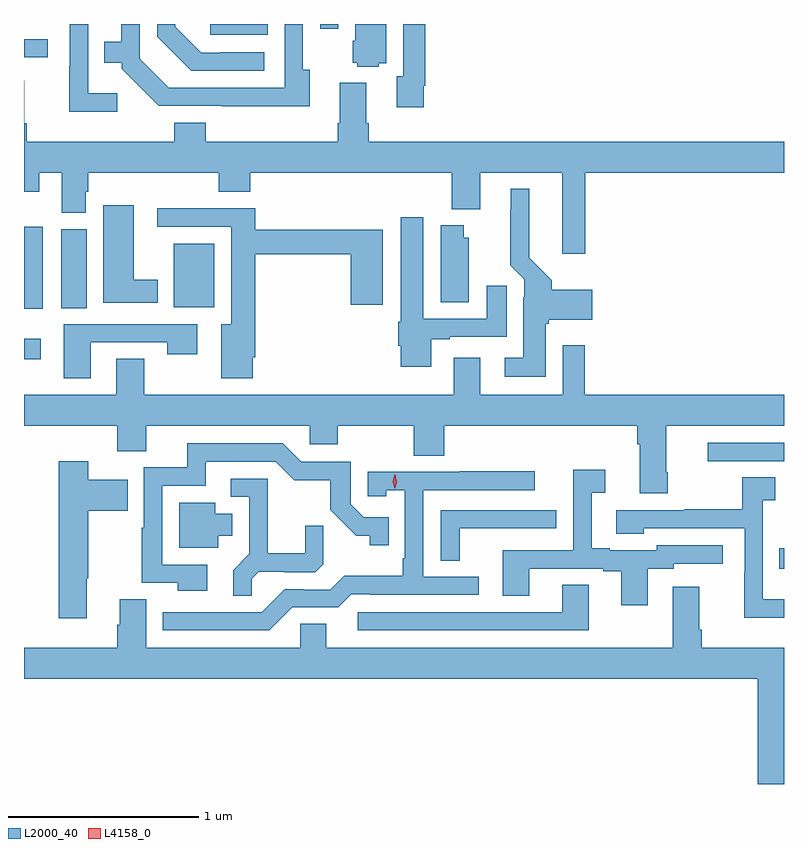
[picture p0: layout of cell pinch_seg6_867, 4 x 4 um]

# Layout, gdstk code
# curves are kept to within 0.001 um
import gdstk
lib = gdstk.Library(unit=1e-6, precision=1e-09)
def R(c, l, rs):  # rectangles x0, y0, x1, y1
    for r in rs: c.add(gdstk.rectangle(r[:2], r[2:], *l))
def P(c, l, *ps):  # polygons
    for p in ps: c.add(gdstk.Polygon(p, *l))
L2000_40 = (2000, 40)
L4158_0 = (4158, 0)

pinch_seg6_867 = lib.new_cell('pinch_seg6_867')
R(pinch_seg6_867, L2000_40, [(182.461,954.575,182.487,954.685), (182.085,955.143,182.487,955.239), (178.487,955.679,178.576,955.786), (178.487,955.944,178.585,956.377), (178.682,955.948,178.816,956.364), (179.276,955.952,179.488,956.287), (178.487,957.267,178.612,957.363), (179.466,957.387,179.77,957.443), (180.045,957.417,180.141,957.443)])
P(pinch_seg6_867, L2000_40, [(178.978,957.079),(178.824,957.079),(178.824,957.443),(178.728,957.443),(178.728,957.221),(178.726,957.221),(178.726,956.981),(178.978,956.981)],
  [(179.752,957.294),(179.521,957.294),(179.521,957.291),(179.421,957.291),(179.284,957.428),(179.284,957.443),(179.187,957.443),(179.187,957.377),(179.366,957.198),(179.752,957.198)],
  [(179.992,957.202),(179.955,957.202),(179.955,957.443),(179.859,957.443),(179.859,957.108),(179.25,957.108),(179.097,957.261),(179.097,957.443),(179,957.443),(179,957.349),(178.909,957.349),(178.909,957.239),(179.001,957.239),(179.001,957.207),(179.196,957.012),(179.992,957.011)],
  [(180.354,957.236),(180.394,957.236),(180.394,957.443),(180.23,957.443),(180.23,957.354),(180.218,957.354),(180.218,957.24),(180.24,957.24),(180.24,957.218),(180.354,957.218)],
  [(180.592,957.118),(180.599,957.118),(180.599,957.443),(180.483,957.443),(180.483,957.167),(180.449,957.167),(180.449,957.006),(180.592,957.006)],
  [(181.442,956.66),(182.487,956.66),(182.487,956.824),(180.302,956.824),(180.302,956.92),(180.289,956.92),(180.289,957.133),(180.149,957.133),(180.149,956.92),(180.137,956.92),(180.137,956.824),(179.444,956.824),(179.444,956.923),(179.279,956.923),(179.279,956.824),(178.502,956.824),(178.502,956.92),(178.489,956.92),(178.489,957.145),(178.487,957.145),(178.487,956.561),(178.567,956.561),(178.567,956.66),(178.685,956.66),(178.685,956.449),(178.813,956.449),(178.813,956.559),(178.826,956.559),(178.826,956.66),(179.513,956.66),(179.513,956.561),(179.678,956.561),(179.678,956.66),(180.737,956.66),(180.737,956.468),(180.889,956.468),(180.889,956.66),(181.319,956.66),(181.319,956.235),(181.442,956.235)],
  [(181.234,955.866),(181.248,955.866),(181.248,955.886),(181.477,955.886),(181.477,956.044),(181.265,956.044),(181.265,956.094),(181.147,956.212),(181.147,956.575),(181.049,956.575),(181.049,956.465),(181.045,956.465),(181.045,956.174),(181.119,956.1),(181.119,956.006),(181.115,956.006),(181.115,955.687),(181.017,955.687),(181.017,955.586),(181.234,955.586)],
  [(179.191,956.098),(179.065,956.098),(179.065,956.488),(178.904,956.488),(178.904,955.976),(179.191,955.976)],
  [(179.692,955.69),(179.705,955.69),(179.705,956.23),(180.206,956.23),(180.206,955.965),(180.376,955.965),(180.376,956.359),(179.705,956.359),(179.705,956.474),(179.187,956.474),(179.187,956.376),(179.579,956.376),(179.579,955.864),(179.525,955.864),(179.525,955.578),(179.692,955.578)],
  [(180.631,955.785),(180.727,955.785),(180.727,955.797),(181.027,955.797),(181.027,956.065),(180.923,956.065),(180.923,955.893),(180.589,955.893),(180.589,956.425),(180.47,956.425),(180.47,955.877),(180.458,955.877),(180.458,955.75),(180.47,955.75),(180.47,955.638),(180.631,955.638)],
  [(180.829,956.319),(180.802,956.319),(180.802,956.383),(180.68,956.383),(180.68,955.978),(180.829,955.978)],
  [(178.837,955.767),(179.242,955.767),(179.242,955.704),(179.398,955.704),(179.398,955.863),(178.697,955.863),(178.697,955.578),(178.837,955.578)],
  [(181.875,955.084),(181.867,955.084),(181.867,955.328),(182.487,955.328),(182.487,955.492),(181.439,955.492),(181.439,955.753),(181.323,955.753),(181.323,955.492),(180.889,955.492),(180.889,955.687),(180.749,955.687),(180.749,955.492),(179.121,955.492),(179.121,955.682),(178.973,955.682),(178.973,955.492),(178.487,955.492),(178.487,955.328),(178.979,955.328),(178.979,955.195),(179.131,955.195),(179.131,955.328),(179.991,955.328),(179.991,955.23),(180.138,955.23),(180.138,955.328),(180.538,955.328),(180.538,955.171),(180.698,955.171),(180.698,955.328),(181.715,955.328),(181.715,955.232),(181.727,955.232),(181.727,954.972),(181.875,954.972)],
  [(179.452,954.597),(179.214,954.597),(179.214,955.014),(179.443,955.014),(179.443,955.14),(179.811,955.14),(179.91,955.042),(180.099,955.042),(180.099,954.886),(180.236,954.749),(180.306,954.749),(180.306,954.699),(180.407,954.699),(180.407,954.846),(180.276,954.846),(180.207,954.915),(180.207,955.14),(179.946,955.14),(179.85,955.236),(179.345,955.236),(179.345,955.11),(179.118,955.11),(179.118,954.791),(179.106,954.791),(179.106,954.501),(179.296,954.501),(179.296,954.461),(179.452,954.461)],
  [(178.816,954.527),(178.824,954.527),(178.824,954.88),(179.033,954.88),(179.033,955.045),(178.824,955.045),(178.824,955.141),(178.67,955.141),(178.67,954.315),(178.816,954.315)],
  [(181.771,954.576),(181.908,954.576),(181.908,954.603),(182.164,954.603),(182.164,954.699),(181.818,954.699),(181.818,954.672),(181.57,954.672),(181.57,954.685),(181.474,954.685),(181.474,954.976),(181.546,954.976),(181.546,955.096),(181.377,955.096),(181.377,954.672),(181.007,954.672),(181.007,954.433),(181.147,954.433),(181.147,954.576),(181.535,954.576),(181.535,954.564),(181.631,954.564),(181.631,954.384),(181.771,954.384)],
  [(179.898,954.372),(180.141,954.372),(180.21,954.441),(180.31,954.441),(180.31,954.438),(180.88,954.438),(180.88,954.534),(180.588,954.534),(180.588,954.99),(181.174,954.99),(181.174,955.089),(180.781,955.089),(180.781,955.086),(180.297,955.086),(180.297,954.957),(180.393,954.957),(180.393,954.989),(180.492,954.989),(180.492,954.631),(180.48,954.631),(180.48,954.538),(180.172,954.538),(180.099,954.465),(179.96,954.465),(179.96,954.468),(179.859,954.468),(179.739,954.348),(179.216,954.348),(179.216,954.252),(179.778,954.252)],
  [(182.487,954.415),(182.376,954.415),(182.376,954.937),(182.44,954.937),(182.44,955.058),(182.268,955.058),(182.268,954.888),(181.963,954.888),(181.963,954.885),(181.605,954.885),(181.605,954.761),(181.749,954.761),(181.749,954.789),(182.28,954.789),(182.28,954.557),(182.278,954.557),(182.278,954.317),(182.487,954.317)],
  [(179.685,954.524),(179.722,954.561),(179.856,954.561),(179.856,954.558),(180.021,954.558),(180.062,954.599),(180.062,954.801),(179.968,954.801),(179.968,954.658),(179.771,954.658),(179.771,955.05),(179.574,955.05),(179.574,954.954),(179.673,954.954),(179.673,954.655),(179.587,954.569),(179.587,954.433),(179.685,954.433)],
  [(179.509,954.749),(179.584,954.749),(179.584,954.865),(179.494,954.865),(179.494,954.922),(179.303,954.922),(179.303,954.686),(179.509,954.686)],
  [(180.78,954.789),(181.175,954.789),(181.175,954.79),(181.288,954.79),(181.288,954.885),(180.681,954.885),(180.681,954.619),(180.78,954.619)],
  [(181.459,954.491),(181.319,954.491),(181.319,954.348),(180.243,954.348),(180.243,954.252),(181.459,954.252)],
  [(182.487,954.16),(182.054,954.16),(182.054,954.256),(182.041,954.256),(182.041,954.481),(181.901,954.481),(181.901,954.16),(180.079,954.16),(180.079,954.287),(179.94,954.287),(179.94,954.16),(179.131,954.16),(179.131,954.416),(178.991,954.416),(178.991,954.282),(178.979,954.282),(178.979,954.16),(178.487,954.16),(178.487,953.996),(182.348,953.996),(182.348,953.443),(182.487,953.443)])
P(pinch_seg6_867, L4158_0, [(180.439,954.999),(180.439,954.999),(180.429,955.035),(180.439,955.071),(180.439,955.071),(180.44,955.071),(180.449,955.035),(180.44,954.999)])

lib.write_gds('pinch_seg6_867.gds')
